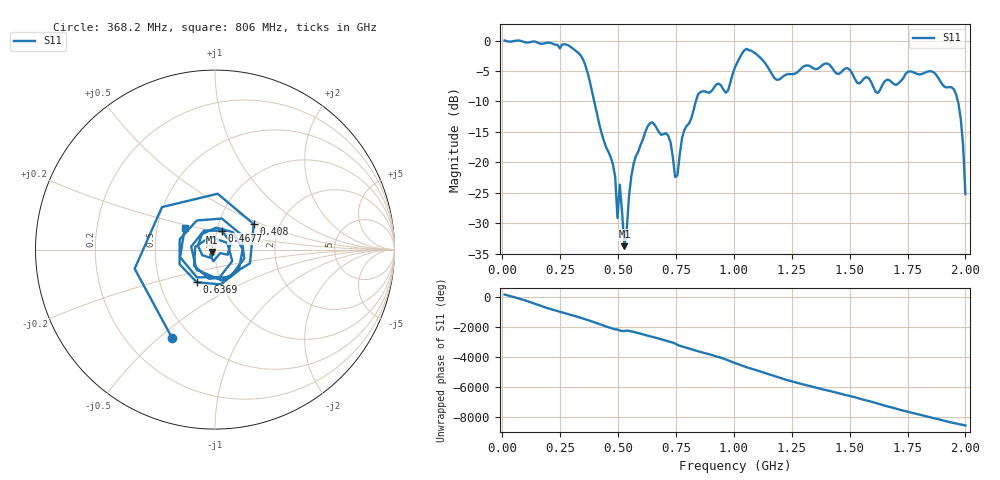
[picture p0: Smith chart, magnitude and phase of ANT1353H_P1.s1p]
!Created with skrf (http://scikit-rf.org).
# Hz S RI R 50.0
!freq ReS11 ImS11
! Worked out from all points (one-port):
!   201 points, 10 MHz to 2 GHz, reference 50 ohm
!   lowest |S11| = -33.7 dB at 527.4 MHz (marker M1), VSWR 1.04, Z = 48.5 - j1.4 ohm
!   |S11| at or under -10 dB: 397.3 MHz to 835.6 MHz (438.3 MHz wide, 71.1 % of centre); 1.968 GHz to end of sweep
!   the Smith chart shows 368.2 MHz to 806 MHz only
!   S11 on the Smith chart (normalised r, x): 368.2 MHz: 0.39, -0.55; 408 MHz: 1.47, +0.45; 467.7 MHz: 1.05, +0.22; 636.9 MHz: 0.77, -0.29; 806 MHz: 0.69, +0.18
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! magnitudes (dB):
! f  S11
! 10 MHz  0.0
! 258.8 MHz  -0.7
! 368.2 MHz  -5.3
! 408 MHz  -11.8
! 467.7 MHz  -19.1
! 487.6 MHz  -22.4
! 497.6 MHz  -29.1
! 507.5 MHz  -23.6
! 527.4 MHz  -33.7
! 567.2 MHz  -20.2
! 636.9 MHz  -13.6
! 716.5 MHz  -15.6
! 746.3 MHz  -22.4
! 756.2 MHz  -22.2
! 776.1 MHz  -16.1
! 806 MHz  -13.6
! 845.8 MHz  -8.8
! 965.2 MHz  -8.6
! 1.005 GHz  -4.4
! 1.055 GHz  -1.4
! 1.184 GHz  -6.4
! 1.254 GHz  -5.5
! 1.502 GHz  -4.9
! 1.622 GHz  -8.6
! 1.751 GHz  -5.1
! 1.95 GHz  -8.0
! 1.98 GHz  -12.9
! 2 GHz  -25.2
